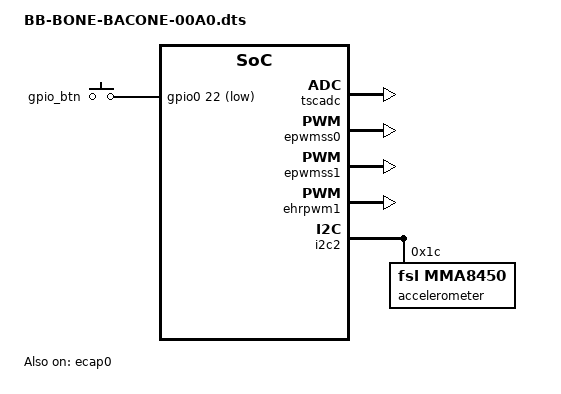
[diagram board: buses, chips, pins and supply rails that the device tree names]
/*
 * Copyright (C) 2013 Circuit Co.
 *
 * This program is free software; you can redistribute it and/or modify
 * it under the terms of the GNU General Public License version 2 as
 * published by the Free Software Foundation.
 */
/dts-v1/;
/plugin/;

#include <dt-bindings/board/am335x-bbw-bbb-base.h>
#include <dt-bindings/gpio/gpio.h>
#include <dt-bindings/pinctrl/am33xx.h>

/ {
	/*
	 * Helper to show loaded overlays under: /proc/device-tree/chosen/overlays/
	 */
	fragment@0 {
		target-path="/";
		__overlay__ {

			chosen {
				overlays {
					BB-BONE-BACONE-00A0 = __TIMESTAMP__;
				};
			};
		};
	};

	/*
	 * Free up the pins used by the cape from the pinmux helpers.
	 */
	fragment@1 {
		target = <&ocp>;
		__overlay__ {
			P8_19_pinmux { status = "disabled"; };	/* P8_19: gpmc_ad8.gpio0_22 */

			P9_14_pinmux { status = "disabled"; };	/* P9_14: (ZCZ ball U14) | MODE 6 */
			P9_16_pinmux { status = "disabled"; };	/* P9_16: (ZCZ ball T14) | MODE 6 */

			P9_42_pinmux { status = "disabled"; };	/* P9_42: (ZCZ ball C18) | MODE 0 */

			P9_15_pinmux { status = "disabled"; };	/* P9_15: .gpio1_16 | MODE7 | OUTPUT */
			P9_17_pinmux { status = "disabled"; };	/* P9_17: spi0_cs0.gpio0_5 | MODE7 | OUTPUT */
			P9_18_pinmux { status = "disabled"; };	/* P9_18: spi0_d1.gpio0_4 | MODE7 | OUTPUT */
			P9_22_pinmux { status = "disabled"; };	/* P9_22: spi0_sclk.gpio0_2 | MODE7 | OUTPUT */
		};
	};

	fragment@2 {
		target = <&am33xx_pinmux>;
		__overlay__ {

			bb_gpio0_22_pins: pinmux_bb_gpio0_22_pins {
				pinctrl-single,pins = <
					BONE_P8_19 (PIN_INPUT | MUX_MODE7)	/* P8_19: gpmc_ad8.gpio0_22 */
				>;
			};

			bb_ehrpwm1_pins: pinmux_bb_ehrpwm1_pins {
				pinctrl-single,pins = <
					BONE_P9_14 (PIN_OUTPUT_PULLDOWN | MUX_MODE6)	/* P9_14: (ZCZ ball U14) | MODE 6 */
					BONE_P9_16 (PIN_OUTPUT_PULLDOWN | MUX_MODE6)	/* P9_16: (ZCZ ball T14) | MODE 6 */
				>;
			};

			bb_ecap0_pins: pinmux_bb_ecap0_pins {
				pinctrl-single,pins = <
					BONE_P9_42 (PIN_OUTPUT_PULLDOWN | MUX_MODE0)	/* P9_42: (ZCZ ball C18) | MODE 0 */
				>;
			};

			bacon_gpiohelp_pins: pinmux_bacon_gpio_helper_pins {
				pinctrl-single,pins = <
					0x040 0x0f	/* P9_15: .gpio1_16 | MODE7 | OUTPUT */
					0x15c 0x0f	/* P9_17: spi0_cs0.gpio0_5 | MODE7 | OUTPUT */
					0x158 0x0f	/* P9_18: spi0_d1.gpio0_4 | MODE7 | OUTPUT */
					0x150 0x0f	/* P9_22: spi0_sclk.gpio0_2 | MODE7 | OUTPUT */
				>;
			};
		};
	};

	fragment@3 {
		target-path="/";
		__overlay__ {

			gpio_keys {
				compatible = "gpio-keys";
				pinctrl-names = "default";
				pinctrl-0 = <&bb_gpio0_22_pins>;

				button@1 {
					debounce_interval = <50>;
					linux,code = <143>; /* System Wake Up */
					label = "gpio_btn";
					gpios = <&gpio0 22 GPIO_ACTIVE_LOW>;
					gpio-key,wakeup;
				};
			};
		};
	};

	fragment@4 {
		target = <&tscadc>;
		__overlay__ {

			status = "okay";
			adc {
				ti,adc-channels = <6>; /* AIN5 */
			};
		};
	};

	fragment@5 {
		target = <&epwmss0>;
		__overlay__ {
			status = "okay";
		};
	};

	fragment@6 {
		target = <&ecap0>;
		__overlay__ {
			pinctrl-names = "default";
			pinctrl-0 = <&bb_ecap0_pins>;
			status = "okay";
		};
	};

	fragment@7 {
		target = <&epwmss1>;
		__overlay__ {
			status = "okay";
		};
	};

	fragment@8 {
		target = <&ehrpwm1>;
		__overlay__ {
			pinctrl-names = "default";
			pinctrl-0 = <&bb_ehrpwm1_pins>;
			status = "okay";
		};
	};

	fragment@9 {
		target = <&i2c2>;
		__overlay__ {
			#address-cells = <1>;
			#size-cells = <0>;

			accelerometer: mma8450@1c {
				compatible = "fsl,mma8450";
				reg = <0x1c>;
			};
		};
	};
};
